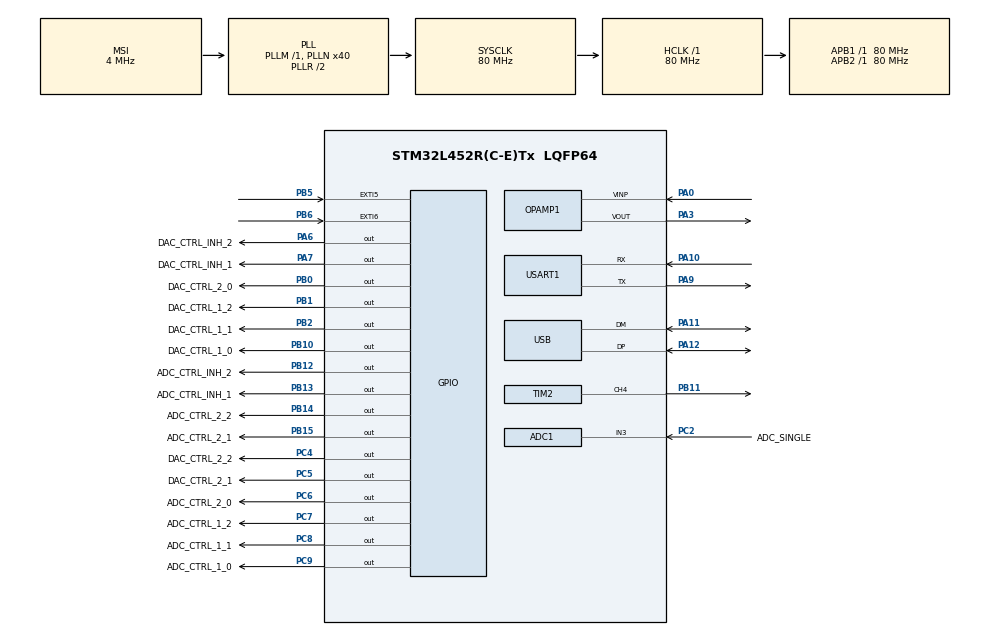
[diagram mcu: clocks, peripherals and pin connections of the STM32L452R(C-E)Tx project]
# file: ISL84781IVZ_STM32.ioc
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ADC1.Channel-5\#ChannelRegularConversion=ADC_CHANNEL_3
ADC1.ClockPrescaler=ADC_CLOCK_ASYNC_DIV1
ADC1.ContinuousConvMode=DISABLE
ADC1.DMAContinuousRequests=ENABLE
ADC1.EnableRegularConversion=ENABLE
ADC1.ExternalTrigConv=ADC_EXTERNALTRIG_T6_TRGO
ADC1.NbrOfConversion=1
ADC1.NbrOfConversionFlag=1
ADC1.OffsetNumber-5\#ChannelRegularConversion=ADC_OFFSET_NONE
ADC1.Rank-5\#ChannelRegularConversion=1
ADC1.SamplingTime-5\#ChannelRegularConversion=ADC_SAMPLETIME_2CYCLES_5
ADC1.master=1
Dma.ADC1.0.Direction=DMA_PERIPH_TO_MEMORY
Dma.ADC1.0.Instance=DMA1_Channel1
Dma.ADC1.0.MemDataAlignment=DMA_MDATAALIGN_HALFWORD
Dma.ADC1.0.MemInc=DMA_MINC_ENABLE
Dma.ADC1.0.Mode=DMA_CIRCULAR
Dma.ADC1.0.PeriphDataAlignment=DMA_PDATAALIGN_HALFWORD
Dma.ADC1.0.PeriphInc=DMA_PINC_DISABLE
Dma.ADC1.0.Priority=DMA_PRIORITY_HIGH
Dma.Request0=ADC1
Mcu.Family=STM32L4
Mcu.Name=STM32L452R(C-E)Tx
Mcu.Package=LQFP64
NVIC.ADC1_IRQn=true\:0\:0\:false\:false\:true\:true\:true\:true
NVIC.DMA1_Channel1_IRQn=true\:0\:0\:false\:false\:true\:false\:true\:true
NVIC.PriorityGroup=NVIC_PRIORITYGROUP_4
NVIC.USB_IRQn=true\:0\:0\:false\:false\:true\:false\:true\:true
OPAMP1.PowerSupplyRange=OPAMP_POWERSUPPLY_HIGH
PA0.Mode=PGA Not Connected
PA0.Signal=OPAMP1_VINP
PA10.Mode=Asynchronous
PA10.Signal=USART1_RX
PA11.Mode=Device
PA11.Signal=USB_DM
PA12.Mode=Device
PA12.Signal=USB_DP
PA13\ (JTMS/SWDIO).Mode=Trace_Asynchronous_SW
PA13\ (JTMS/SWDIO).Signal=SYS_JTMS-SWDIO
PA14\ (JTCK/SWCLK).Mode=Trace_Asynchronous_SW
PA14\ (JTCK/SWCLK).Signal=SYS_JTCK-SWCLK
PA3.Mode=PGA Not Connected
PA3.Signal=OPAMP1_VOUT
PA6.GPIO_Label=DAC_CTRL_INH_2
PA6.PinState=GPIO_PIN_SET
PA6.Signal=GPIO_Output
PA7.GPIO_Label=DAC_CTRL_INH_1
PA7.PinState=GPIO_PIN_SET
PA7.Signal=GPIO_Output
PA9.Mode=Asynchronous
PA9.Signal=USART1_TX
PB0.GPIO_Label=DAC_CTRL_2_0
PB0.Signal=GPIO_Output
PB1.GPIO_Label=DAC_CTRL_1_2
PB1.Signal=GPIO_Output
PB10.GPIO_Label=DAC_CTRL_1_0
PB10.Signal=GPIO_Output
PB11.Signal=S_TIM2_CH4
PB12.GPIO_Label=ADC_CTRL_INH_2
PB12.PinState=GPIO_PIN_SET
PB12.Signal=GPIO_Output
PB13.GPIO_Label=ADC_CTRL_INH_1
PB13.PinState=GPIO_PIN_SET
PB13.Signal=GPIO_Output
PB14.GPIO_Label=ADC_CTRL_2_2
PB14.Signal=GPIO_Output
PB15.GPIO_Label=ADC_CTRL_2_1
PB15.Signal=GPIO_Output
PB2.GPIO_Label=DAC_CTRL_1_1
PB2.Signal=GPIO_Output
PB3\ (JTDO/TRACESWO).Mode=Trace_Asynchronous_SW
PB3\ (JTDO/TRACESWO).Signal=SYS_JTDO-SWO
PB5.Signal=GPXTI5
PB6.Signal=GPXTI6
PC2.GPIO_Label=ADC_SINGLE
PC2.Signal=ADCx_IN3
PC4.GPIO_Label=DAC_CTRL_2_2
PC4.Signal=GPIO_Output
PC5.GPIO_Label=DAC_CTRL_2_1
PC5.Signal=GPIO_Output
PC6.GPIO_Label=ADC_CTRL_2_0
PC6.Signal=GPIO_Output
PC7.GPIO_Label=ADC_CTRL_1_2
PC7.Signal=GPIO_Output
PC8.GPIO_Label=ADC_CTRL_1_1
PC8.Signal=GPIO_Output
PC9.GPIO_Label=ADC_CTRL_1_0
PC9.Signal=GPIO_Output
ProjectManager.HeapSize=0x200
ProjectManager.StackSize=0x400
ProjectManager.TargetToolchain=STM32CubeIDE
RCC.ADCFreq_Value=48000000
RCC.AHBFreq_Value=80000000
RCC.APB1Freq_Value=80000000
RCC.APB1TimFreq_Value=80000000
RCC.APB2Freq_Value=80000000
RCC.APB2TimFreq_Value=80000000
RCC.CK48CLockSelection=RCC_USBCLKSOURCE_HSI48
RCC.CortexFreq_Value=80000000
RCC.HCLKFreq_Value=80000000
RCC.HSE_VALUE=8000000
RCC.HSI48_VALUE=48000000
RCC.HSI_VALUE=16000000
RCC.LSE_VALUE=32768
RCC.MSI_VALUE=4000000
RCC.PLLN=40
RCC.PLLSAI1N=24
RCC.SYSCLKFreq_VALUE=80000000
RCC.SYSCLKSource=RCC_SYSCLKSOURCE_PLLCLK
RCC.USBFreq_Value=48000000
RCC.VCOOutputFreq_Value=160000000
SH.ADCx_IN3.0=ADC1_IN3,IN3-Single-Ended
SH.S_TIM2_CH4.0=TIM2_CH4,PWM Generation4 CH4
TIM2.Channel-PWM\ Generation4\ CH4=TIM_CHANNEL_4
TIM6.Period=19900
TIM6.Prescaler=0
TIM6.TIM_MasterOutputTrigger=TIM_TRGO_UPDATE
USART1.VirtualMode-Asynchronous=VM_ASYNC
USB.Sof_enable=DISABLE
USB_DEVICE.CLASS_NAME_FS=CDC
USB_DEVICE.USBD_LPM_ENABLED=0
USB_DEVICE.VirtualMode=Cdc
USB_DEVICE.VirtualModeFS=Cdc_FS
VP_TIM6_VS_ClockSourceINT.Mode=Enable_Timer
VP_USB_DEVICE_VS_USB_DEVICE_CDC_FS.Mode=CDC_FS
board=custom

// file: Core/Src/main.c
/* USER CODE BEGIN Header */
/**
 ******************************************************************************
 * @file           : main.c
 * @brief          : Main program body
 ******************************************************************************
 * @attention
 *
 * Copyright (c) 2025 STMicroelectronics.
 * All rights reserved.
 *
 * This software is licensed under terms that can be found in the LICENSE file
 * in the root directory of this software component.
 * If no LICENSE file comes with this software, it is provided AS-IS.
 *
 ******************************************************************************
 */
/* USER CODE END Header */
#include "main.h"
#include "usb_device.h"

/* USER CODE BEGIN Includes */
#include "usb_device.h"     // declares extern USBD_HandleTypeDef hUsbDeviceFS
#include "usbd_cdc_if.h"    // declares CDC_Transmit_FS()
#include "usbd_def.h"       // (optional) if you access hUsbDeviceFS fields like pClassData/dev_state
#include "ISL84781IVZ.h"

/* USER CODE END Includes */

/* USER CODE BEGIN PTD */
#define ADC_BUF_LEN 4096
#define HALF_LEN   (ADC_BUF_LEN/2)
#define LINE_BUF  16
#define CHUNK_SAMPLES  32       // number of ADC samples per USB packet

#define VREF   3.3f

ISL84781IVZ dev_Out_1;
ISL84781IVZ dev_Out_2;
ISL84781IVZ dev_In_1;
ISL84781IVZ dev_In_2;
// Array for holding the ISL84781IVZ devices
ISL84781IVZ *OutISL[] = { &dev_Out_1, &dev_Out_2 };
ISL84781IVZ *InISL[] = { &dev_In_1, &dev_In_2 };
char TxMessageBuffer[] = {"Hello"};

uint8_t rxBuffer[2048];
uint8_t rxLenght = 0;
bool rxDataReady;
bool send_half_buffer_flag;
uint16_t *adc_half_ptr = NULL;               // pointer to half-buffer
bool fullBufferReady;
uint32_t tx_index = 0;         // next sample index to send
static char tx_chunk[CHUNK_SAMPLES * LINE_BUF];

volatile uint32_t adc_sample_count = 0;
/* USER CODE END PTD */

ADC_HandleTypeDef hadc1;
DMA_HandleTypeDef hdma_adc1;

OPAMP_HandleTypeDef hopamp1;

TIM_HandleTypeDef htim2;
TIM_HandleTypeDef htim6;

UART_HandleTypeDef huart1;

/* USER CODE BEGIN PV */
extern USBD_HandleTypeDef hUsbDeviceFS;
uint8_t testVar = 0;

uint16_t adc_buff[ADC_BUF_LEN];

/* USER CODE END PV */

void SystemClock_Config(void);
static void MX_GPIO_Init(void);
static void MX_DMA_Init(void);
static void MX_USART1_UART_Init(void);
static void MX_ADC1_Init(void);
static void MX_OPAMP1_Init(void);
static void MX_TIM2_Init(void);
static void MX_TIM6_Init(void);
/* USER CODE BEGIN PFP */
void SendHalfBuffer(void);
/* USER CODE END PFP */

int main(void)
{

  /* MCU Configuration--------------------------------------------------------*/

  /* Reset of all peripherals, Initializes the Flash interface and the Systick. */
  HAL_Init();

  /* Configure the system clock */
  SystemClock_Config();

  /* USER CODE BEGIN SysInit */
	/* --- USB 48MHz clock on: HSI48 + CRS --- */
	__HAL_RCC_HSI48_ENABLE();
	while (!__HAL_RCC_GET_FLAG(RCC_FLAG_HSI48RDY)) {
	}

	/* USB-Clockquelle  auf HSI48 gesetzt
	 getrimmt : */
	__HAL_RCC_CRS_CLK_ENABLE();

	RCC_CRSInitTypeDef CRSInit = { 0 };
	CRSInit.Prescaler = RCC_CRS_SYNC_DIV1;
	CRSInit.Source = RCC_CRS_SYNC_SOURCE_USB;
	CRSInit.Polarity = RCC_CRS_SYNC_POLARITY_RISING;
	CRSInit.ReloadValue = RCC_CRS_RELOADVALUE_DEFAULT;
	CRSInit.ErrorLimitValue = RCC_CRS_ERRORLIMIT_DEFAULT;
	CRSInit.HSI48CalibrationValue = RCC_CRS_HSI48CALIBRATION_DEFAULT;
	HAL_RCCEx_CRSConfig(&CRSInit);

  /* USER CODE END SysInit */

  /* Initialize all configured peripherals */
  MX_GPIO_Init();
  MX_DMA_Init();
  MX_USART1_UART_Init();
  MX_ADC1_Init();
  MX_OPAMP1_Init();
  MX_TIM2_Init();
  MX_USB_DEVICE_Init();
  MX_TIM6_Init();
  /* USER CODE BEGIN 2 */
	uint32_t t0 = HAL_GetTick();
	while ((hUsbDeviceFS.dev_state != USBD_STATE_CONFIGURED)
			&& (HAL_GetTick() - t0 < 3000)) {
		HAL_Delay(10);
	}

	ISL84781IVZ_init(&dev_Out_1, DAC_CTRL_1_0_GPIO_Port, DAC_CTRL_1_0_Pin,
	DAC_CTRL_1_1_GPIO_Port, DAC_CTRL_1_1_Pin, DAC_CTRL_1_2_GPIO_Port,
	DAC_CTRL_1_2_Pin, DAC_CTRL_INH_1_GPIO_Port, DAC_CTRL_INH_1_Pin, NONE);

	ISL84781IVZ_init(&dev_Out_2, DAC_CTRL_2_0_GPIO_Port, DAC_CTRL_2_0_Pin,
	DAC_CTRL_2_1_GPIO_Port, DAC_CTRL_2_1_Pin, DAC_CTRL_2_2_GPIO_Port,
	DAC_CTRL_2_2_Pin, DAC_CTRL_INH_2_GPIO_Port, DAC_CTRL_INH_2_Pin, NONE);

	ISL84781IVZ_init(&dev_In_1, ADC_CTRL_1_0_GPIO_Port, ADC_CTRL_1_0_Pin,
	ADC_CTRL_1_1_GPIO_Port, ADC_CTRL_1_1_Pin, ADC_CTRL_1_2_GPIO_Port,
	ADC_CTRL_1_2_Pin, ADC_CTRL_INH_1_GPIO_Port, ADC_CTRL_INH_1_Pin, NONE);

	ISL84781IVZ_init(&dev_In_2, ADC_CTRL_2_0_GPIO_Port, ADC_CTRL_2_0_Pin,
	ADC_CTRL_2_1_GPIO_Port, ADC_CTRL_2_1_Pin, ADC_CTRL_2_2_GPIO_Port,
	ADC_CTRL_2_2_Pin, ADC_CTRL_INH_2_GPIO_Port, ADC_CTRL_INH_2_Pin, NONE);

//	ISL84781IVZ_Update(&dev_Out_1, NO0);
//	HAL_Delay(2000);
//	ISL84781IVZ_Update(&dev_Out_1, NO1);
//	HAL_Delay(2000);
//	ISL84781IVZ_Update(&dev_Out_1, NO2);
//	HAL_Delay(2000);
//	ISL84781IVZ_Update(&dev_Out_1, NO3);
//	HAL_Delay(2000);
//	ISL84781IVZ_Update(&dev_Out_1, NO4);
//	HAL_Delay(2000);
//	ISL84781IVZ_Update(&dev_Out_1, NO5);
//	HAL_Delay(2000);
//	ISL84781IVZ_Update(&dev_Out_1, NO6);
//	HAL_Delay(2000);
//	ISL84781IVZ_Update(&dev_Out_1, NO7);
//	HAL_Delay(2000);

	ISL84781IVZ_Update(&dev_Out_1, NO0);
	ISL84781IVZ_Update(&dev_In_2, NO0);

	HAL_ADC_Start_DMA(&hadc1, (uint32_t*) adc_buff, ADC_BUF_LEN);
	HAL_TIM_Base_Start(&htim6);

  /* USER CODE END 2 */

  /* Infinite loop */
	while (1) {

    /* USER CODE BEGIN 3 */
		/* Send over USB CDC */
		//CDC_Transmit_FS(TxMessageBuffer, sizeof(TxMessageBuffer) - 1);
		// "-1" so you don’t send the trailing '\0'
//		if (rxDataReady == true) {
//			rxDataReady = false;
//			CDC_Transmit_FS(rxBuffer, rxLenght);
//		}
		rxDataReady = false;
		uint8_t ascii = rxBuffer[0];
		uint8_t number = ascii - '0';
//		if (ascii >= '0' && ascii <= '9') {
//			number = ascii - '0';
//		}
//		ISL84781IVZ_state_t state = number;
//
//		CDC_Transmit_FS(rxBuffer, rxLenght);
		//ISL84781IVZ_Update(&dev_In_2, state);

			SendHalfBuffer();

	}

  /* USER CODE END 3 */
}

void SystemClock_Config(void)
{
  RCC_OscInitTypeDef RCC_OscInitStruct = {0};
  RCC_ClkInitTypeDef RCC_ClkInitStruct = {0};

  /** Configure the main internal regulator output voltage
  */
  if (HAL_PWREx_ControlVoltageScaling(PWR_REGULATOR_VOLTAGE_SCALE1) != HAL_OK)
  {
    Error_Handler();
  }

  /** Initializes the RCC Oscillators according to the specified parameters
  * in the RCC_OscInitTypeDef structure.
  */
  RCC_OscInitStruct.OscillatorType = RCC_OSCILLATORTYPE_HSI48|RCC_OSCILLATORTYPE_MSI;
  RCC_OscInitStruct.HSI48State = RCC_HSI48_ON;
  RCC_OscInitStruct.MSIState = RCC_MSI_ON;
  RCC_OscInitStruct.MSICalibrationValue = 0;
  RCC_OscInitStruct.MSIClockRange = RCC_MSIRANGE_6;
  RCC_OscInitStruct.PLL.PLLState = RCC_PLL_ON;
  RCC_OscInitStruct.PLL.PLLSource = RCC_PLLSOURCE_MSI;
  RCC_OscInitStruct.PLL.PLLM = 1;
  RCC_OscInitStruct.PLL.PLLN = 40;
  RCC_OscInitStruct.PLL.PLLP = RCC_PLLP_DIV7;
  RCC_OscInitStruct.PLL.PLLQ = RCC_PLLQ_DIV2;
  RCC_OscInitStruct.PLL.PLLR = RCC_PLLR_DIV2;
  if (HAL_RCC_OscConfig(&RCC_OscInitStruct) != HAL_OK)
  {
    Error_Handler();
  }

  /** Initializes the CPU, AHB and APB buses clocks
  */
  RCC_ClkInitStruct.ClockType = RCC_CLOCKTYPE_HCLK|RCC_CLOCKTYPE_SYSCLK
                              |RCC_CLOCKTYPE_PCLK1|RCC_CLOCKTYPE_PCLK2;
  RCC_ClkInitStruct.SYSCLKSource = RCC_SYSCLKSOURCE_PLLCLK;
  RCC_ClkInitStruct.AHBCLKDivider = RCC_SYSCLK_DIV1;
  RCC_ClkInitStruct.APB1CLKDivider = RCC_HCLK_DIV1;
  RCC_ClkInitStruct.APB2CLKDivider = RCC_HCLK_DIV1;

  if (HAL_RCC_ClockConfig(&RCC_ClkInitStruct, FLASH_LATENCY_4) != HAL_OK)
  {
    Error_Handler();
  }
}

static void MX_ADC1_Init(void)
{

  ADC_ChannelConfTypeDef sConfig = {0};

  /** Common config
  */
  hadc1.Instance = ADC1;
  hadc1.Init.ClockPrescaler = ADC_CLOCK_ASYNC_DIV1;
  hadc1.Init.Resolution = ADC_RESOLUTION_12B;
  hadc1.Init.DataAlign = ADC_DATAALIGN_RIGHT;
  hadc1.Init.ScanConvMode = ADC_SCAN_DISABLE;
  hadc1.Init.EOCSelection = ADC_EOC_SINGLE_CONV;
  hadc1.Init.LowPowerAutoWait = DISABLE;
  hadc1.Init.ContinuousConvMode = DISABLE;
  hadc1.Init.NbrOfConversion = 1;
  hadc1.Init.DiscontinuousConvMode = DISABLE;
  hadc1.Init.ExternalTrigConv = ADC_EXTERNALTRIG_T6_TRGO;
  hadc1.Init.ExternalTrigConvEdge = ADC_EXTERNALTRIGCONVEDGE_RISING;
  hadc1.Init.DMAContinuousRequests = ENABLE;
  hadc1.Init.Overrun = ADC_OVR_DATA_PRESERVED;
  hadc1.Init.OversamplingMode = DISABLE;
  if (HAL_ADC_Init(&hadc1) != HAL_OK)
  {
    Error_Handler();
  }

  /** Configure Regular Channel
  */
  sConfig.Channel = ADC_CHANNEL_3;
  sConfig.Rank = ADC_REGULAR_RANK_1;
  sConfig.SamplingTime = ADC_SAMPLETIME_2CYCLES_5;
  sConfig.SingleDiff = ADC_SINGLE_ENDED;
  sConfig.OffsetNumber = ADC_OFFSET_NONE;
  sConfig.Offset = 0;
  if (HAL_ADC_ConfigChannel(&hadc1, &sConfig) != HAL_OK)
  {
    Error_Handler();
  }

}

static void MX_OPAMP1_Init(void)
{

  hopamp1.Instance = OPAMP1;
  hopamp1.Init.PowerSupplyRange = OPAMP_POWERSUPPLY_HIGH;
  hopamp1.Init.Mode = OPAMP_PGA_MODE;
  hopamp1.Init.NonInvertingInput = OPAMP_NONINVERTINGINPUT_IO0;
  hopamp1.Init.InvertingInput = OPAMP_INVERTINGINPUT_CONNECT_NO;
  hopamp1.Init.PgaGain = OPAMP_PGA_GAIN_2;
  hopamp1.Init.PowerMode = OPAMP_POWERMODE_NORMALPOWER;
  hopamp1.Init.UserTrimming = OPAMP_TRIMMING_FACTORY;
  if (HAL_OPAMP_Init(&hopamp1) != HAL_OK)
  {
    Error_Handler();
  }

}

static void MX_TIM2_Init(void)
{

  TIM_MasterConfigTypeDef sMasterConfig = {0};
  TIM_OC_InitTypeDef sConfigOC = {0};

  htim2.Instance = TIM2;
  htim2.Init.Prescaler = 0;
  htim2.Init.CounterMode = TIM_COUNTERMODE_UP;
  htim2.Init.Period = 4294967295;
  htim2.Init.ClockDivision = TIM_CLOCKDIVISION_DIV1;
  htim2.Init.AutoReloadPreload = TIM_AUTORELOAD_PRELOAD_DISABLE;
  if (HAL_TIM_PWM_Init(&htim2) != HAL_OK)
  {
    Error_Handler();
  }
  sMasterConfig.MasterOutputTrigger = TIM_TRGO_RESET;
  sMasterConfig.MasterSlaveMode = TIM_MASTERSLAVEMODE_DISABLE;
  if (HAL_TIMEx_MasterConfigSynchronization(&htim2, &sMasterConfig) != HAL_OK)
  {
    Error_Handler();
  }
  sConfigOC.OCMode = TIM_OCMODE_PWM1;
  sConfigOC.Pulse = 0;
  sConfigOC.OCPolarity = TIM_OCPOLARITY_HIGH;
  sConfigOC.OCFastMode = TIM_OCFAST_DISABLE;
  if (HAL_TIM_PWM_ConfigChannel(&htim2, &sConfigOC, TIM_CHANNEL_4) != HAL_OK)
  {
    Error_Handler();
  }
  HAL_TIM_MspPostInit(&htim2);

}

static void MX_TIM6_Init(void)
{

  TIM_MasterConfigTypeDef sMasterConfig = {0};

  htim6.Instance = TIM6;
  htim6.Init.Prescaler = 0;
  htim6.Init.CounterMode = TIM_COUNTERMODE_UP;
  htim6.Init.Period = 19900;
  htim6.Init.AutoReloadPreload = TIM_AUTORELOAD_PRELOAD_DISABLE;
  if (HAL_TIM_Base_Init(&htim6) != HAL_OK)
  {
    Error_Handler();
  }
  sMasterConfig.MasterOutputTrigger = TIM_TRGO_UPDATE;
  sMasterConfig.MasterSlaveMode = TIM_MASTERSLAVEMODE_DISABLE;
  if (HAL_TIMEx_MasterConfigSynchronization(&htim6, &sMasterConfig) != HAL_OK)
  {
    Error_Handler();
  }

}

static void MX_USART1_UART_Init(void)
{

  huart1.Instance = USART1;
  huart1.Init.BaudRate = 115200;
  huart1.Init.WordLength = UART_WORDLENGTH_8B;
  huart1.Init.StopBits = UART_STOPBITS_1;
  huart1.Init.Parity = UART_PARITY_NONE;
  huart1.Init.Mode = UART_MODE_TX_RX;
  huart1.Init.HwFlowCtl = UART_HWCONTROL_NONE;
  huart1.Init.OverSampling = UART_OVERSAMPLING_16;
  huart1.Init.OneBitSampling = UART_ONE_BIT_SAMPLE_DISABLE;
  huart1.AdvancedInit.AdvFeatureInit = UART_ADVFEATURE_NO_INIT;
  if (HAL_UART_Init(&huart1) != HAL_OK)
  {
    Error_Handler();
  }

}

static void MX_DMA_Init(void)
{

  /* DMA controller clock enable */
  __HAL_RCC_DMA1_CLK_ENABLE();

  /* DMA interrupt init */
  /* DMA1_Channel1_IRQn interrupt configuration */
  HAL_NVIC_SetPriority(DMA1_Channel1_IRQn, 0, 0);
  HAL_NVIC_EnableIRQ(DMA1_Channel1_IRQn);

}

static void MX_GPIO_Init(void)
{
  GPIO_InitTypeDef GPIO_InitStruct = {0};

  /* GPIO Ports Clock Enable */
  __HAL_RCC_GPIOC_CLK_ENABLE();
  __HAL_RCC_GPIOA_CLK_ENABLE();
  __HAL_RCC_GPIOB_CLK_ENABLE();

  /*Configure GPIO pin Output Level */
  HAL_GPIO_WritePin(GPIOA, DAC_CTRL_INH_2_Pin|DAC_CTRL_INH_1_Pin, GPIO_PIN_SET);

  /*Configure GPIO pin Output Level */
  HAL_GPIO_WritePin(GPIOC, DAC_CTRL_2_2_Pin|DAC_CTRL_2_1_Pin|ADC_CTRL_2_0_Pin|ADC_CTRL_1_2_Pin
                          |ADC_CTRL_1_1_Pin|ADC_CTRL_1_0_Pin, GPIO_PIN_RESET);

  /*Configure GPIO pin Output Level */
  HAL_GPIO_WritePin(GPIOB, DAC_CTRL_2_0_Pin|DAC_CTRL_1_2_Pin|DAC_CTRL_1_1_Pin|DAC_CTRL_1_0_Pin
                          |ADC_CTRL_2_2_Pin|ADC_CTRL_2_1_Pin, GPIO_PIN_RESET);

  /*Configure GPIO pin Output Level */
  HAL_GPIO_WritePin(GPIOB, ADC_CTRL_INH_2_Pin|ADC_CTRL_INH_1_Pin, GPIO_PIN_SET);

  /*Configure GPIO pins : DAC_CTRL_INH_2_Pin DAC_CTRL_INH_1_Pin */
  GPIO_InitStruct.Pin = DAC_CTRL_INH_2_Pin|DAC_CTRL_INH_1_Pin;
  GPIO_InitStruct.Mode = GPIO_MODE_OUTPUT_PP;
  GPIO_InitStruct.Pull = GPIO_NOPULL;
  GPIO_InitStruct.Speed = GPIO_SPEED_FREQ_LOW;
  HAL_GPIO_Init(GPIOA, &GPIO_InitStruct);

  /*Configure GPIO pins : DAC_CTRL_2_2_Pin DAC_CTRL_2_1_Pin ADC_CTRL_2_0_Pin ADC_CTRL_1_2_Pin
                           ADC_CTRL_1_1_Pin ADC_CTRL_1_0_Pin */
  GPIO_InitStruct.Pin = DAC_CTRL_2_2_Pin|DAC_CTRL_2_1_Pin|ADC_CTRL_2_0_Pin|ADC_CTRL_1_2_Pin
                          |ADC_CTRL_1_1_Pin|ADC_CTRL_1_0_Pin;
  GPIO_InitStruct.Mode = GPIO_MODE_OUTPUT_PP;
  GPIO_InitStruct.Pull = GPIO_NOPULL;
  GPIO_InitStruct.Speed = GPIO_SPEED_FREQ_LOW;
  HAL_GPIO_Init(GPIOC, &GPIO_InitStruct);

  /*Configure GPIO pins : DAC_CTRL_2_0_Pin DAC_CTRL_1_2_Pin DAC_CTRL_1_1_Pin DAC_CTRL_1_0_Pin
                           ADC_CTRL_INH_2_Pin ADC_CTRL_INH_1_Pin ADC_CTRL_2_2_Pin ADC_CTRL_2_1_Pin */
  GPIO_InitStruct.Pin = DAC_CTRL_2_0_Pin|DAC_CTRL_1_2_Pin|DAC_CTRL_1_1_Pin|DAC_CTRL_1_0_Pin
                          |ADC_CTRL_INH_2_Pin|ADC_CTRL_INH_1_Pin|ADC_CTRL_2_2_Pin|ADC_CTRL_2_1_Pin;
  GPIO_InitStruct.Mode = GPIO_MODE_OUTPUT_PP;
  GPIO_InitStruct.Pull = GPIO_NOPULL;
  GPIO_InitStruct.Speed = GPIO_SPEED_FREQ_LOW;
  HAL_GPIO_Init(GPIOB, &GPIO_InitStruct);

  /*Configure GPIO pins : PB5 PB6 */
  GPIO_InitStruct.Pin = GPIO_PIN_5|GPIO_PIN_6;
  GPIO_InitStruct.Mode = GPIO_MODE_IT_RISING;
  GPIO_InitStruct.Pull = GPIO_NOPULL;
  HAL_GPIO_Init(GPIOB, &GPIO_InitStruct);

}

/* USER CODE BEGIN 4 */
void HAL_ADC_ConvHalfCpltCallback(ADC_HandleTypeDef *hadc) {
//	uint8_t TxMessageBuffer[] = "MY USB IS WORKING! \r\n";
//	CDC_Transmit_FS(TxMessageBuffer, sizeof(TxMessageBuffer) - 1);
	//adc_sample_count += (ADC_BUF_LEN/2);
	ADC_HalfCompleteCallback(&adc_buff[0]); // first half

}

void HAL_ADC_ConvCpltCallback(ADC_HandleTypeDef *hadc) {
	//adc_sample_count += (ADC_BUF_LEN/2);
	ADC_HalfCompleteCallback(&adc_buff[HALF_LEN]); // second half
}

// Call this from ADC half-complete callback
void ADC_HalfCompleteCallback(uint16_t *samples) {
    adc_half_ptr = samples;
    send_half_buffer_flag = true;
    tx_index = 0;
}

void SendHalfBuffer(void) {
    if (!send_half_buffer_flag || adc_half_ptr == NULL) return;

    while (tx_index < HALF_LEN) {
        uint32_t chunk_count = (HALF_LEN - tx_index) > CHUNK_SAMPLES ? CHUNK_SAMPLES : (HALF_LEN - tx_index);
        uint32_t pos = 0;

        // Convert chunk samples to ASCII lines
        for (uint32_t i = 0; i < chunk_count; i++) {
            float voltage = (adc_half_ptr[tx_index + i] / 4095.0f) * VREF;
            int n = snprintf(&tx_chunk[pos], LINE_BUF, "%.3f\r\n", voltage);
            pos += n;
        }
        // Non-blocking transmit: try sending this chunk
        if (CDC_Transmit_FS((uint8_t*)tx_chunk, pos) == USBD_OK) {
            tx_index += chunk_count;  // advance index
        } else {
            // USB busy, try again next main loop iteration
            return;
        }
    }

    // Full half-buffer sent
    adc_half_ptr = NULL;
    send_half_buffer_flag = false;
}

/* USER CODE END 4 */

void Error_Handler(void)
{
	__disable_irq();
	while (1) {
	}
}
